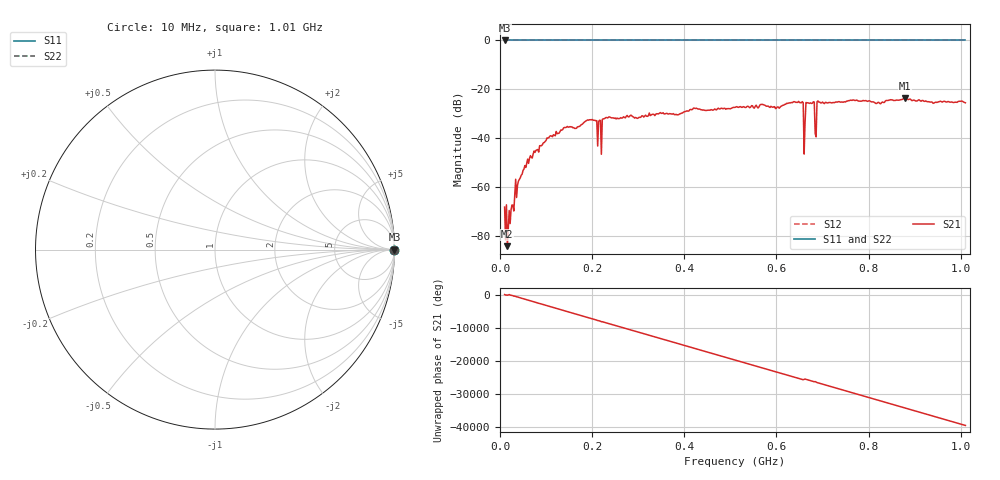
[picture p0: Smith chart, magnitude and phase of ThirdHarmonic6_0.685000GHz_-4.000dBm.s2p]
! 8/15/2025 10:50:56 PM
! C:\ANRITSUVNA\TEMP\TEMP.S2P
! CHANNEL.1
! TR.MEASUREMENT
! RAW.DATA
! RF.CORRECTION.OFF
! AVERAGING.OFF
! IF.BANDWIDTH: 5KHZ
! SWEEPTYPE:  FREQ.SWEEP(Linear)
! Reference Plane Port Info
! PORT:  PORT1  PORT2
! DISTANCE:  0  m  0  m
! TIME:  0  s  0  s
! PHASE.OFFSET:  0  deg.  0  deg.
! LOSS:  0  dB  0  dB
! REF.LOSS:  0  dB  0  dB
! REF.FREQ:  0  Hz  0  Hz
! Power Info
! POWER:  -20  dBm  -20  dBm
! EFF.POWER:  -20  dBm  -20  dBm
! SOURCE.ATTEN:  0  dB  0  dB
! TEST.ATTEN:  0  dB  0  dB
# GHZ S RI R 50.0
! FREQ.GHZ  S11RE  S11IM  S21RE  S21IM  S12RE  S12IM  S22RE  S22IM
!; PortSelection: Port_12
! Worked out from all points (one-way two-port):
!   501 points, 10 MHz to 1.01 GHz, reference 50 ohm
!   highest |S21| = -23.69 dB at 878 MHz (marker M1); lowest = -84.2 dB at 16 MHz (marker M2)
!   lowest |S11| = 0.0 dB at 10 MHz (marker M3)
!   |S11| at or under -10 dB: nowhere
!   |S22| runs from 0.0 to 0.0 dB; largest |S21 - S12| = 1.1
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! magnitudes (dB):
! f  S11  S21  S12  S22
! 10 MHz  0.0  -68.2  0.0  0.0
! 16 MHz  0.0  -84.2  0.0  0.0
! 38 MHz  0.0  -59.3  0.0  0.0
! 62 MHz  0.0  -50.3  0.0  0.0
! 106 MHz  0.0  -39.7  0.0  0.0
! 178 MHz  0.0  -34.3  0.0  0.0
! 206 MHz  0.0  -32.7  0.0  0.0
! 216 MHz  0.0  -32.7  0.0  0.0
! 228 MHz  0.0  -31.8  0.0  0.0
! 344 MHz  0.0  -30.0  0.0  0.0
! 510 MHz  0.0  -27.4  0.0  0.0
! 652 MHz  0.0  -25.5  0.0  0.0
! 658 MHz  0.0  -25.5  0.0  0.0
! 664 MHz  0.0  -25.4  0.0  0.0
! 668 MHz  0.0  -25.5  0.0  0.0
! 678 MHz  0.0  -25.7  0.0  0.0
! 682 MHz  0.0  -25.2  0.0  0.0
! 688 MHz  0.0  -25.1  0.0  0.0
! 692 MHz  0.0  -25.2  0.0  0.0
! 844 MHz  0.0  -24.4  0.0  0.0
! 878 MHz  0.0  -23.7  0.0  0.0
! 1.01 GHz  0.0  -25.5  0.0  0.0
